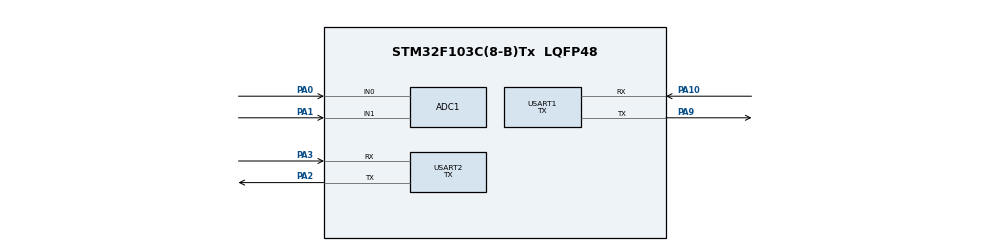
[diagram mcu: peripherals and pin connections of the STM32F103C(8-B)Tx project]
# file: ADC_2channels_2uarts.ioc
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ADC1.Channel-0\#ChannelRegularConversion=ADC_CHANNEL_0
ADC1.Channel-1\#ChannelRegularConversion=ADC_CHANNEL_0
ADC1.ContinuousConvMode=DISABLE
ADC1.NbrOfConversion=2
ADC1.NbrOfConversionFlag=1
ADC1.Rank-0\#ChannelRegularConversion=1
ADC1.Rank-1\#ChannelRegularConversion=2
ADC1.SamplingTime-0\#ChannelRegularConversion=ADC_SAMPLETIME_1CYCLE_5
ADC1.SamplingTime-1\#ChannelRegularConversion=ADC_SAMPLETIME_1CYCLE_5
ADC1.master=1
Mcu.Family=STM32F1
Mcu.Name=STM32F103C(8-B)Tx
Mcu.Package=LQFP48
NVIC.ADC1_2_IRQn=true\:0\:0\:false\:false\:true\:true\:true\:true
NVIC.PriorityGroup=NVIC_PRIORITYGROUP_4
NVIC.TIM1_UP_IRQn=true\:0\:0\:false\:false\:true\:true\:true\:true
PA0-WKUP.Signal=ADCx_IN0
PA1.Signal=ADCx_IN1
PA10.Mode=Asynchronous
PA10.Signal=USART1_RX
PA13.Mode=Serial_Wire
PA13.Signal=SYS_JTMS-SWDIO
PA14.Mode=Serial_Wire
PA14.Signal=SYS_JTCK-SWCLK
PA2.Mode=Asynchronous
PA2.Signal=USART2_TX
PA3.Mode=Asynchronous
PA3.Signal=USART2_RX
PA9.Mode=Asynchronous
PA9.Signal=USART1_TX
PD0-OSC_IN.Mode=HSE-External-Oscillator
PD0-OSC_IN.Signal=RCC_OSC_IN
PD1-OSC_OUT.Mode=HSE-External-Oscillator
PD1-OSC_OUT.Signal=RCC_OSC_OUT
ProjectManager.HeapSize=0x200
ProjectManager.StackSize=0x400
ProjectManager.TargetToolchain=STM32CubeIDE
RCC.APB1Freq_Value=8000000
RCC.APB2Freq_Value=8000000
RCC.SYSCLKSource=RCC_SYSCLKSOURCE_HSE
SH.ADCx_IN0.0=ADC1_IN0,IN0
SH.ADCx_IN1.0=ADC1_IN1,IN1
TIM1.Period=799
TIM1.Prescaler=999
USART1.Mode=MODE_TX
USART1.VirtualMode=VM_ASYNC
USART2.Mode=MODE_TX
USART2.VirtualMode=VM_ASYNC
VP_TIM1_VS_ClockSourceINT.Mode=Internal
board=custom

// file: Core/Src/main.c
/* USER CODE BEGIN Header */
/**
  ******************************************************************************
  * @file           : main.c
  * @brief          : Main program body
  ******************************************************************************
  * @attention
  *
  * Copyright (c) 2024 STMicroelectronics.
  * All rights reserved.
  *
  * This software is licensed under terms that can be found in the LICENSE file
  * in the root directory of this software component.
  * If no LICENSE file comes with this software, it is provided AS-IS.
  *
  ******************************************************************************
  */
/* USER CODE END Header */
#include "main.h"

ADC_HandleTypeDef hadc1;

TIM_HandleTypeDef htim1;

UART_HandleTypeDef huart1;
UART_HandleTypeDef huart2;

void SystemClock_Config(void);
static void MX_GPIO_Init(void);
static void MX_ADC1_Init(void);
static void MX_USART1_UART_Init(void);
static void MX_USART2_UART_Init(void);
static void MX_TIM1_Init(void);
/* USER CODE BEGIN PFP */
void DDS_VAL_TO_NUMS(uint32_t val);

/* USER CODE END PFP */

int main(void)
{

  /* MCU Configuration--------------------------------------------------------*/

  /* Reset of all peripherals, Initializes the Flash interface and the Systick. */
  HAL_Init();

  /* Configure the system clock */
  SystemClock_Config();

  /* Initialize all configured peripherals */
  MX_GPIO_Init();
  MX_ADC1_Init();
  MX_USART1_UART_Init();
  MX_USART2_UART_Init();
  MX_TIM1_Init();
  /* USER CODE BEGIN 2 */
  HAL_TIM_Base_Start_IT(&htim1);
  /* USER CODE END 2 */

  /* Infinite loop */
  while (1)
  {

  }
}

void SystemClock_Config(void)
{
  RCC_OscInitTypeDef RCC_OscInitStruct = {0};
  RCC_ClkInitTypeDef RCC_ClkInitStruct = {0};
  RCC_PeriphCLKInitTypeDef PeriphClkInit = {0};

  /** Initializes the RCC Oscillators according to the specified parameters
  * in the RCC_OscInitTypeDef structure.
  */
  RCC_OscInitStruct.OscillatorType = RCC_OSCILLATORTYPE_HSE;
  RCC_OscInitStruct.HSEState = RCC_HSE_ON;
  RCC_OscInitStruct.PLL.PLLState = RCC_PLL_NONE;
  if (HAL_RCC_OscConfig(&RCC_OscInitStruct) != HAL_OK)
  {
    Error_Handler();
  }

  /** Initializes the CPU, AHB and APB buses clocks
  */
  RCC_ClkInitStruct.ClockType = RCC_CLOCKTYPE_HCLK|RCC_CLOCKTYPE_SYSCLK
                              |RCC_CLOCKTYPE_PCLK1|RCC_CLOCKTYPE_PCLK2;
  RCC_ClkInitStruct.SYSCLKSource = RCC_SYSCLKSOURCE_HSE;
  RCC_ClkInitStruct.AHBCLKDivider = RCC_SYSCLK_DIV1;
  RCC_ClkInitStruct.APB1CLKDivider = RCC_HCLK_DIV1;
  RCC_ClkInitStruct.APB2CLKDivider = RCC_HCLK_DIV1;

  if (HAL_RCC_ClockConfig(&RCC_ClkInitStruct, FLASH_LATENCY_0) != HAL_OK)
  {
    Error_Handler();
  }
  PeriphClkInit.PeriphClockSelection = RCC_PERIPHCLK_ADC;
  PeriphClkInit.AdcClockSelection = RCC_ADCPCLK2_DIV2;
  if (HAL_RCCEx_PeriphCLKConfig(&PeriphClkInit) != HAL_OK)
  {
    Error_Handler();
  }
}

static void MX_ADC1_Init(void)
{

  ADC_ChannelConfTypeDef sConfig = {0};

  /** Common config
  */
  hadc1.Instance = ADC1;
  hadc1.Init.ScanConvMode = ADC_SCAN_ENABLE;
  hadc1.Init.ContinuousConvMode = DISABLE;
  hadc1.Init.DiscontinuousConvMode = DISABLE;
  hadc1.Init.ExternalTrigConv = ADC_SOFTWARE_START;
  hadc1.Init.DataAlign = ADC_DATAALIGN_RIGHT;
  hadc1.Init.NbrOfConversion = 2;
  if (HAL_ADC_Init(&hadc1) != HAL_OK)
  {
    Error_Handler();
  }

  /** Configure Regular Channel
  */
  sConfig.Channel = ADC_CHANNEL_0;
  sConfig.Rank = ADC_REGULAR_RANK_1;
  sConfig.SamplingTime = ADC_SAMPLETIME_1CYCLE_5;
  if (HAL_ADC_ConfigChannel(&hadc1, &sConfig) != HAL_OK)
  {
    Error_Handler();
  }

  /** Configure Regular Channel
  */
  sConfig.Rank = ADC_REGULAR_RANK_2;
  if (HAL_ADC_ConfigChannel(&hadc1, &sConfig) != HAL_OK)
  {
    Error_Handler();
  }

}

static void MX_TIM1_Init(void)
{

  TIM_ClockConfigTypeDef sClockSourceConfig = {0};
  TIM_MasterConfigTypeDef sMasterConfig = {0};

  htim1.Instance = TIM1;
  htim1.Init.Prescaler = 999;
  htim1.Init.CounterMode = TIM_COUNTERMODE_UP;
  htim1.Init.Period = 799;
  htim1.Init.ClockDivision = TIM_CLOCKDIVISION_DIV1;
  htim1.Init.RepetitionCounter = 0;
  htim1.Init.AutoReloadPreload = TIM_AUTORELOAD_PRELOAD_DISABLE;
  if (HAL_TIM_Base_Init(&htim1) != HAL_OK)
  {
    Error_Handler();
  }
  sClockSourceConfig.ClockSource = TIM_CLOCKSOURCE_INTERNAL;
  if (HAL_TIM_ConfigClockSource(&htim1, &sClockSourceConfig) != HAL_OK)
  {
    Error_Handler();
  }
  sMasterConfig.MasterOutputTrigger = TIM_TRGO_RESET;
  sMasterConfig.MasterSlaveMode = TIM_MASTERSLAVEMODE_DISABLE;
  if (HAL_TIMEx_MasterConfigSynchronization(&htim1, &sMasterConfig) != HAL_OK)
  {
    Error_Handler();
  }

}

static void MX_USART1_UART_Init(void)
{

  huart1.Instance = USART1;
  huart1.Init.BaudRate = 115200;
  huart1.Init.WordLength = UART_WORDLENGTH_8B;
  huart1.Init.StopBits = UART_STOPBITS_1;
  huart1.Init.Parity = UART_PARITY_NONE;
  huart1.Init.Mode = UART_MODE_TX;
  huart1.Init.HwFlowCtl = UART_HWCONTROL_NONE;
  huart1.Init.OverSampling = UART_OVERSAMPLING_16;
  if (HAL_UART_Init(&huart1) != HAL_OK)
  {
    Error_Handler();
  }

}

static void MX_USART2_UART_Init(void)
{

  huart2.Instance = USART2;
  huart2.Init.BaudRate = 115200;
  huart2.Init.WordLength = UART_WORDLENGTH_8B;
  huart2.Init.StopBits = UART_STOPBITS_1;
  huart2.Init.Parity = UART_PARITY_NONE;
  huart2.Init.Mode = UART_MODE_TX;
  huart2.Init.HwFlowCtl = UART_HWCONTROL_NONE;
  huart2.Init.OverSampling = UART_OVERSAMPLING_16;
  if (HAL_UART_Init(&huart2) != HAL_OK)
  {
    Error_Handler();
  }

}

static void MX_GPIO_Init(void)
{

  /* GPIO Ports Clock Enable */
  __HAL_RCC_GPIOD_CLK_ENABLE();
  __HAL_RCC_GPIOA_CLK_ENABLE();

}

/* USER CODE BEGIN 4 */
uint8_t adc_val[4] = {0,0,0,0};

void HAL_TIM_PeriodElapsedCallback(TIM_HandleTypeDef *htim)
{
  /* Prevent unused argument(s) compilation warning */
	uint32_t adc_arr[2] = {0,0};

	HAL_StatusTypeDef adc_start_ok = HAL_ADC_Start(&hadc1);
	  //adc_poll_ok = HAL_ADC_PollForConversion(&hadc1, HAL_MAX_DELAY);
	  //ADC_val1 = HAL_ADC_GetValue(&hadc1);
		  adc_arr[0] = HAL_ADC_GetValue(&hadc1);
		  adc_arr[1] = HAL_ADC_GetValue(&hadc1);
		  HAL_ADC_Stop(&hadc1);

		  DDS_VAL_TO_NUMS(adc_arr[0]);
		  HAL_StatusTypeDef ress1 = HAL_UART_Transmit(&huart1, &adc_val[0], 4, HAL_MAX_DELAY);
		  //DDS_VAL_TO_NUMS(adc_arr[1]);
		  //HAL_StatusTypeDef ress2 = HAL_UART_Transmit(&huart2, &adc_val[0], 4, HAL_MAX_DELAY);

		  //DDS_NUM_TO_ASCII();

  /* NOTE : This function should not be modified, when the callback is needed,
            the HAL_TIM_PeriodElapsedCallback could be implemented in the user file
   */
}
void DDS_VAL_TO_NUMS(uint32_t val){
	adc_val[0] = val/1000;
	adc_val[1] = (val%1000)/100;
	adc_val[2] = ((val%1000)%100)/10;
	adc_val[3] = ((val%1000)%100)%10;
}

/* USER CODE END 4 */

void Error_Handler(void)
{
  __disable_irq();
  while (1)
  {
  }
}
